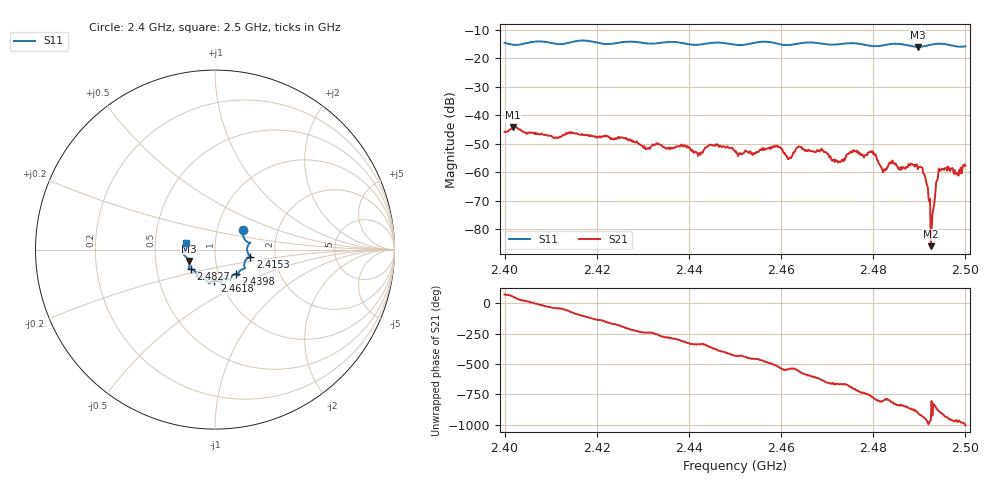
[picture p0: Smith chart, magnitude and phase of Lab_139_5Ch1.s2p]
# Hz S RI R 50
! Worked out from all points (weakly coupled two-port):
!   601 points, 2.4 GHz to 2.5 GHz, reference 50 ohm
!   highest |S21| = -44.14 dB at 2.4018 GHz (marker M1); lowest = -86.0 dB at 2.4925 GHz (marker M2)
!   lowest |S11| = -15.9 dB at 2.4897 GHz (marker M3), VSWR 1.38, Z = 36.9 - j4.81 ohm
!   |S11| at or under -10 dB: start of sweep to end of sweep
!   S12 and S22 are empty: the file has one direction only
!   S11 on the Smith chart (normalised r, x): 2.4 GHz: 1.33, +0.29; 2.4153 GHz: 1.48, -0.12; 2.4398 GHz: 1.21, -0.34; 2.4618 GHz: 0.94, -0.33; 2.4827 GHz: 0.75, -0.17; 2.5 GHz: 0.72, +0.06
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2.4e9  0.1551 0.1067  0.00143 0.00491  0 0  0 0
2.401833e9  0.1564 0.077  0.00347 0.00515  0 0  0 0
2.415333e9  0.1967 -0.0394  0.000419 -0.00478  0 0  0 0
2.416667e9  0.2024 -0.0435  -0.000708 -0.00452  0 0  0 0
2.433333e9  0.1297 -0.1336  -0.000569 0.00314  0 0  0 0
2.439833e9  0.1156 -0.1359  0.00234 0.00149  0 0  0 0
2.45e9  0.0649 -0.162  0.000745 -0.0022  0 0  0 0
2.459167e9  0.0293 -0.1801  -0.00271 -0.00112  0 0  0 0
2.461833e9  -0.00298 -0.1724  -0.0018 -5.04e-05  0 0  0 0
2.463833e9  -0.0264 -0.1812  -0.00267 0.000978  0 0  0 0
2.466667e9  -0.0344 -0.1882  -0.00105 0.00211  0 0  0 0
2.4725e9  -0.0758 -0.1607  0.000941 0.00124  0 0  0 0
2.479667e9  -0.1075 -0.1263  0.0015 -0.0017  0 0  0 0
2.482667e9  -0.1349 -0.1086  0.000373 -0.00101  0 0  0 0
2.483333e9  -0.1401 -0.1081  0.000283 -0.00129  0 0  0 0
2.489667e9  -0.147 -0.0634  -0.00113 3.31e-05  0 0  0 0
2.491167e9  -0.1593 -0.0429  -0.00058 0.00067  0 0  0 0
2.4925e9  -0.1722 -0.0299  -2.37e-05 4.41e-05  0 0  0 0
2.493e9  -0.1759 -0.0265  -0.000128 -0.000171  0 0  0 0
2.494e9  -0.1802 -0.0222  -0.000734 -0.00021  0 0  0 0
2.494667e9  -0.1803 -0.0203  -0.00108 3.93e-05  0 0  0 0
2.5e9  -0.1592 0.0384  0.000392 0.00124  0 0  0 0
